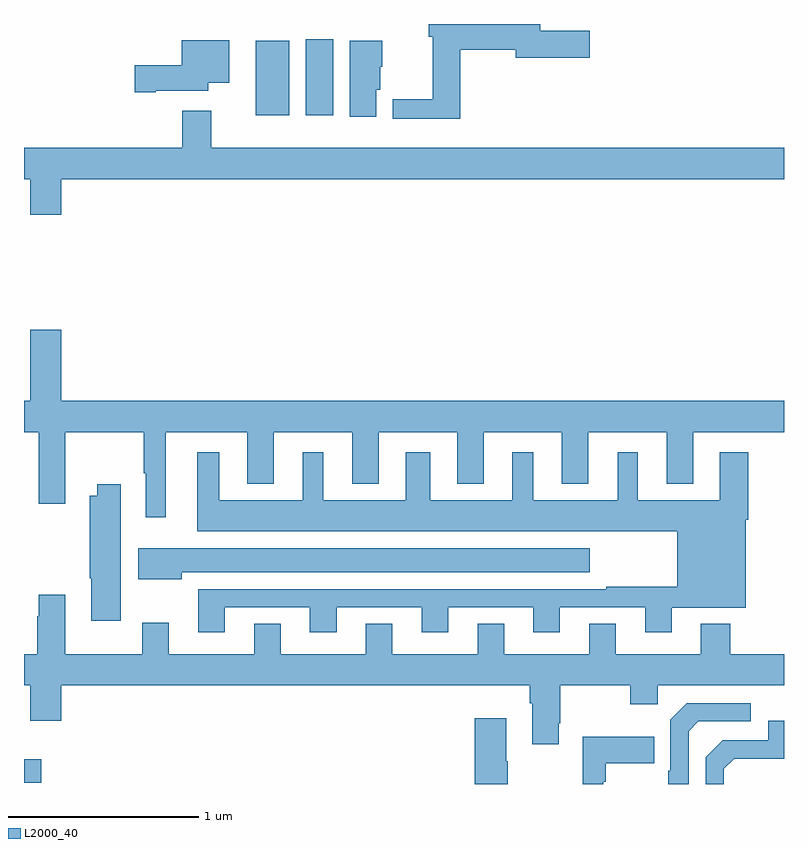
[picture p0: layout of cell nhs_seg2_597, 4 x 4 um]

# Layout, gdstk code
import gdstk
lib = gdstk.Library(unit=1e-6, precision=1e-09)
def R(c, l, rs):  # rectangles x0, y0, x1, y1
    for r in rs: c.add(gdstk.rectangle(r[:2], r[2:], *l))
def P(c, l, *ps):  # polygons
    for p in ps: c.add(gdstk.Polygon(p, *l))
L2000_40 = (2000, 40)

nhs_seg2_597 = lib.new_cell('nhs_seg2_597')
R(nhs_seg2_597, L2000_40, [(141,629.807,141.091,629.929), (142.22,633.32,142.396,633.712), (142.484,633.32,142.627,633.721)])
P(nhs_seg2_597, L2000_40, [(143.297,633.664),(143.588,633.664),(143.588,633.622),(143.977,633.622),(143.977,633.764),(143.716,633.764),(143.716,633.8),(143.131,633.8),(143.131,633.734),(143.15,633.734),(143.15,633.404),(142.941,633.404),(142.941,633.302),(143.297,633.302)],
  [(141.694,633.449),(141.97,633.449),(141.97,633.491),(142.081,633.491),(142.081,633.715),(141.83,633.715),(141.83,633.584),(141.582,633.584),(141.582,633.442),(141.694,633.442)],
  [(142.855,633.453),(142.876,633.453),(142.876,633.576),(142.885,633.576),(142.885,633.712),(142.715,633.712),(142.715,633.312),(142.855,633.312)],
  [(141.196,632.984),(145,632.984),(145,633.148),(141.985,633.148),(141.985,633.343),(141.833,633.343),(141.833,633.148),(141,633.148),(141,632.984),(141.032,632.984),(141.032,632.796),(141.196,632.796)],
  [(141.745,631.652),(142.175,631.652),(142.175,631.379),(142.315,631.379),(142.315,631.652),(142.727,631.652),(142.727,631.379),(142.867,631.379),(142.867,631.652),(143.279,631.652),(143.279,631.379),(143.419,631.379),(143.419,631.652),(143.831,631.652),(143.831,631.379),(143.971,631.379),(143.971,631.652),(144.383,631.652),(144.383,631.379),(144.523,631.379),(144.523,631.652),(145,631.652),(145,631.816),(141.196,631.816),(141.196,632.191),(141.032,632.191),(141.032,631.816),(141,631.816),(141,631.652),(141.077,631.652),(141.077,631.275),(141.217,631.275),(141.217,631.652),(141.631,631.652),(141.631,631.436),(141.641,631.436),(141.641,631.203),(141.745,631.203)],
  [(142.057,630.729),(142.505,630.729),(142.505,630.6),(142.645,630.6),(142.645,630.729),(143.093,630.729),(143.093,630.6),(143.233,630.6),(143.233,630.729),(143.681,630.729),(143.681,630.6),(143.821,630.6),(143.821,630.729),(144.269,630.729),(144.269,630.6),(144.409,630.6),(144.409,630.728),(144.799,630.728),(144.799,631.19),(144.812,631.19),(144.812,631.546),(144.662,631.546),(144.662,631.294),(144.229,631.294),(144.229,631.546),(144.125,631.546),(144.125,631.294),(143.68,631.294),(143.68,631.546),(143.57,631.546),(143.57,631.294),(143.137,631.294),(143.137,631.546),(143.009,631.546),(143.009,631.294),(142.576,631.294),(142.576,631.546),(142.466,631.546),(142.466,631.294),(142.027,631.294),(142.027,631.546),(141.911,631.546),(141.911,631.13),(144.437,631.13),(144.437,630.838),(144.064,630.838),(144.064,630.825),(141.917,630.825),(141.917,630.6),(142.057,630.6)],
  [(141.508,631.378),(141.386,631.378),(141.386,631.318),(141.346,631.318),(141.346,630.883),(141.353,630.883),(141.353,630.66),(141.508,630.66)],
  [(141.829,630.914),(143.977,630.914),(143.977,631.042),(141.6,631.042),(141.6,630.878),(141.829,630.878)],
  [(143.663,630.224),(143.675,630.224),(143.675,630.009),(143.815,630.009),(143.815,630.121),(143.823,630.121),(143.823,630.32),(144.19,630.32),(144.19,630.221),(144.336,630.221),(144.336,630.32),(145,630.32),(145,630.484),(144.716,630.484),(144.716,630.643),(144.563,630.643),(144.563,630.484),(144.115,630.484),(144.115,630.644),(143.975,630.644),(143.975,630.484),(143.527,630.484),(143.527,630.644),(143.387,630.644),(143.387,630.484),(142.939,630.484),(142.939,630.644),(142.799,630.644),(142.799,630.484),(142.351,630.484),(142.351,630.644),(142.211,630.644),(142.211,630.484),(141.763,630.484),(141.763,630.649),(141.623,630.649),(141.623,630.484),(141.217,630.484),(141.217,630.796),(141.077,630.796),(141.077,630.683),(141.07,630.683),(141.07,630.484),(141,630.484),(141,630.32),(141.032,630.32),(141.032,630.132),(141.196,630.132),(141.196,630.32),(143.663,630.32)],
  [(144.498,630.078),(144.549,630.129),(144.826,630.129),(144.826,630.225),(144.489,630.225),(144.402,630.138),(144.402,629.869),(144.39,629.869),(144.39,629.8),(144.498,629.8)],
  [(143.547,629.921),(143.539,629.921),(143.539,630.145),(143.372,630.145),(143.372,629.8),(143.547,629.8)],
  [(144.684,629.88),(144.737,629.933),(145,629.933),(145,630.132),(144.918,630.132),(144.918,630.03),(144.678,630.03),(144.588,629.94),(144.588,629.8),(144.684,629.8)],
  [(144.048,629.813),(144.061,629.813),(144.061,629.909),(144.317,629.909),(144.317,630.049),(143.94,630.049),(143.94,629.8),(144.048,629.8)])

lib.write_gds('nhs_seg2_597.gds')
